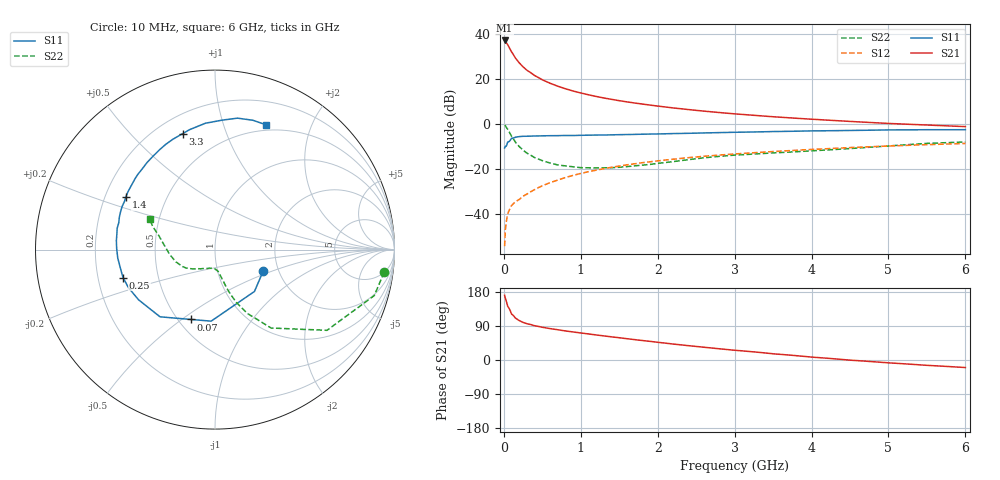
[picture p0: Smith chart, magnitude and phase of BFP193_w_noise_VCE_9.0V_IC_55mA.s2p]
! Infineon Technologies  Discrete & RF Semiconductors
! BFP193
! VCE =  9.0 V,  IC =  55 mA
! Common Emitter S-Parameters:  Jan 2017
# GHz  S  MA  R  50
!  f  S11  S21  S12  S22
! GHz  MAG  ANG  MAG  ANG  MAG  ANG  MAG  ANG
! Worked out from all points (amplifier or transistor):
!   77 points, 10 MHz to 6 GHz, reference 50 ohm
!   highest |S21| = 37.3 dB at 10 MHz (marker M1)
!   |S21| within 3 dB of that: start of sweep to 67.72 MHz
!   unconditionally stable (mu >= 1): 578 MHz to 2.431 GHz
!   at 130 MHz: K = 0.59, MSG = 33.0 dB, |S12| = -35.3 dB
!   at 2.2 GHz: K = 1.01, MAG = 10.8 dB, |S12| = -15.7 dB
!   at 6 GHz: K = 0.91, MSG = 3.8 dB, |S12| = -8.6 dB
!   lowest NFmin = 1.60 dB at 450 MHz
!   S11 on the Smith chart (normalised r, x): 10 MHz: 1.67, -0.43; 70 MHz: 0.58, -0.54; 250 MHz: 0.31, -0.13; 1.4 GHz: 0.29, +0.25; 3.3 GHz: 0.30, +0.71; 6 GHz: 0.44, +1.40
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0.01  0.294 -23.8  73.33 170.6  0.0019 75.6  0.9511 -7.6
0.02  0.3205 -46.7  71.56 162.6  0.0045 80.1  0.9236 -16.1
0.05  0.3993 -93.1  59 141.9  0.0099 63.9  0.7691 -35.8
0.07  0.4119 -109.2  51.05 135.5  0.012 61.3  0.6687 -41.7
0.1  0.4838 -129.3  40.89 121.5  0.0152 58.7  0.5374 -54.4
0.15  0.5095 -146.7  29.82 110.7  0.0186 58.7  0.3978 -63.2
0.2  0.5269 -156.3  23.23 104.1  0.0209 60.8  0.3159 -68.1
0.25  0.5355 -163.1  18.93 99.2  0.0247 61.2  0.2631 -70.8
0.3  0.5367 -168.0  15.9 95.8  0.0276 63.2  0.2252 -73.0
0.4  0.5439 -175.1  12.11 90.4  0.0347 66.6  0.1795 -75.4
0.5  0.5478 179.5  9.74 86.4  0.0422 67.0  0.1533 -77.7
0.6  0.5517 174.9  8.168 82.9  0.0495 67.5  0.1357 -80.0
0.7  0.5533 171.3  7.012 79.9  0.0564 68.5  0.1232 -81.7
0.9  0.5566 164.4  5.469 74.0  0.0719 67.8  0.1118 -87.4
1.1  0.567 158.0  4.508 68.8  0.0869 66.5  0.1062 -93.0
1.4  0.5766 149.4  3.567 61.1  0.1089 63.7  0.1069 -104.5
2.1  0.6088 130.5  2.409 44.5  0.1582 55.6  0.1393 -130.1
3.1  0.6615 109.2  1.644 24.1  0.2216 43.3  0.208 -154.6
3.3  0.6709 105.6  1.549 20.5  0.233 41.0  0.2176 -158.7
4.1  0.7084 92.8  1.258 6.2  0.2778 31.7  0.2593 -176.3
5.1  0.7438 79.0  1.019 -8.7  0.3294 20.3  0.3349 164.1
6  0.7512 67.8  0.88 -19.9  0.3706 10.3  0.4002 154.9
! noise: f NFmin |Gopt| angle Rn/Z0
0.45  1.6  0.45  -170  0.09
0.9  1.65  0.47  -163  0.09
1.9  2.29  0.62  -131  0.25
2.4  2.64  0.64  -118  0.51
